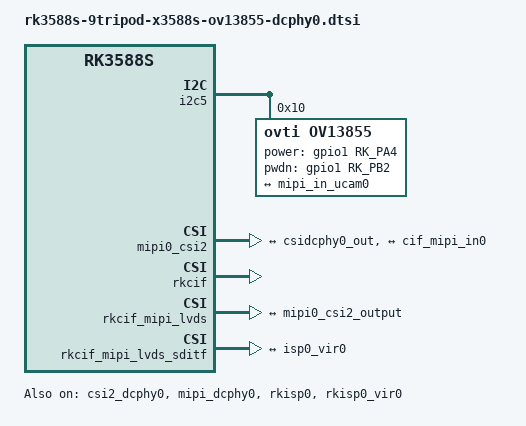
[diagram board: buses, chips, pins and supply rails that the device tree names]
// SPDX-License-Identifier: (GPL-2.0+ OR MIT)
/*
 * Copyright (c) 2021 Rockchip Electronics Co., Ltd.
 *
 */

&csi2_dcphy0 {
	status = "okay";

	ports {
		#address-cells = <1>;
		#size-cells = <0>;
		port@0 {
			reg = <0>;
			#address-cells = <1>;
			#size-cells = <0>;

			mipi_in_ucam0: endpoint@1 {
				reg = <1>;
				remote-endpoint = <&ov13855_out>;
				data-lanes = <1 2 3 4>;
			};
		};
		port@1 {
			reg = <1>;
			#address-cells = <1>;
			#size-cells = <0>;

			csidcphy0_out: endpoint@0 {
				reg = <0>;
				remote-endpoint = <&mipi0_csi2_input>;
			};
		};
	};
};

&i2c5 {
	status = "okay";
	pinctrl-names = "default";
	pinctrl-0 = <&i2c5m3_xfer>;
	
	ov13855: ov13855@10 {
		compatible = "ovti,ov13855";
		status = "okay";
		reg = <0x10>;
		clocks = <&cru CLK_MIPI_CAMARAOUT_M1>;
		clock-names = "xvclk";
		power-domains = <&power RK3588_PD_VI>;
		pinctrl-names = "default";
		pinctrl-0 = <&mipim1_camera1_clk>;
		rockchip,grf = <&sys_grf>;
		power-gpios = <&gpio1 RK_PA4 GPIO_ACTIVE_HIGH>;
		//reset-gpios = <&gpio1 RK_PB2 GPIO_ACTIVE_HIGH>;
		pwdn-gpios = <&gpio1 RK_PB2 GPIO_ACTIVE_HIGH>;
		rockchip,camera-module-index = <1>;
		rockchip,camera-module-facing = "front";
		rockchip,camera-module-name = "CMK-OT2016-FV1";
		rockchip,camera-module-lens-name = "default";
		port {
			ov13855_out: endpoint {
				remote-endpoint = <&mipi_in_ucam0>;
				data-lanes = <1 2 3 4>;
			};
		};
	};
};

&mipi_dcphy0 {
	status = "okay";
};

&mipi0_csi2 {
	status = "okay";

	ports {
		#address-cells = <1>;
		#size-cells = <0>;

		port@0 {
			reg = <0>;
			#address-cells = <1>;
			#size-cells = <0>;

			mipi0_csi2_input: endpoint@1 {
				reg = <1>;
				remote-endpoint = <&csidcphy0_out>;
			};
		};

		port@1 {
			reg = <1>;
			#address-cells = <1>;
			#size-cells = <0>;

			mipi0_csi2_output: endpoint@0 {
				reg = <0>;
				remote-endpoint = <&cif_mipi_in0>;
			};
		};
	};
};

&rkcif {
	status = "okay";
};

&rkcif_mipi_lvds {
	status = "okay";

	port {
		cif_mipi_in0: endpoint {
			remote-endpoint = <&mipi0_csi2_output>;
		};
	};
};

&rkcif_mipi_lvds_sditf {
	status = "okay";

	port {
		mipi_lvds_sditf: endpoint {
			remote-endpoint = <&isp0_vir0>;
		};
	};
};

&rkcif_mmu {
	status = "okay";
};

&rkisp0 {
	status = "okay";
};

&isp0_mmu {
	status = "okay";
};

&rkisp0_vir0 {
	status = "okay";

	port {
		#address-cells = <1>;
		#size-cells = <0>;

		isp0_vir0: endpoint@0 {
			reg = <0>;
			remote-endpoint = <&mipi_lvds_sditf>;
		};
	};
};
